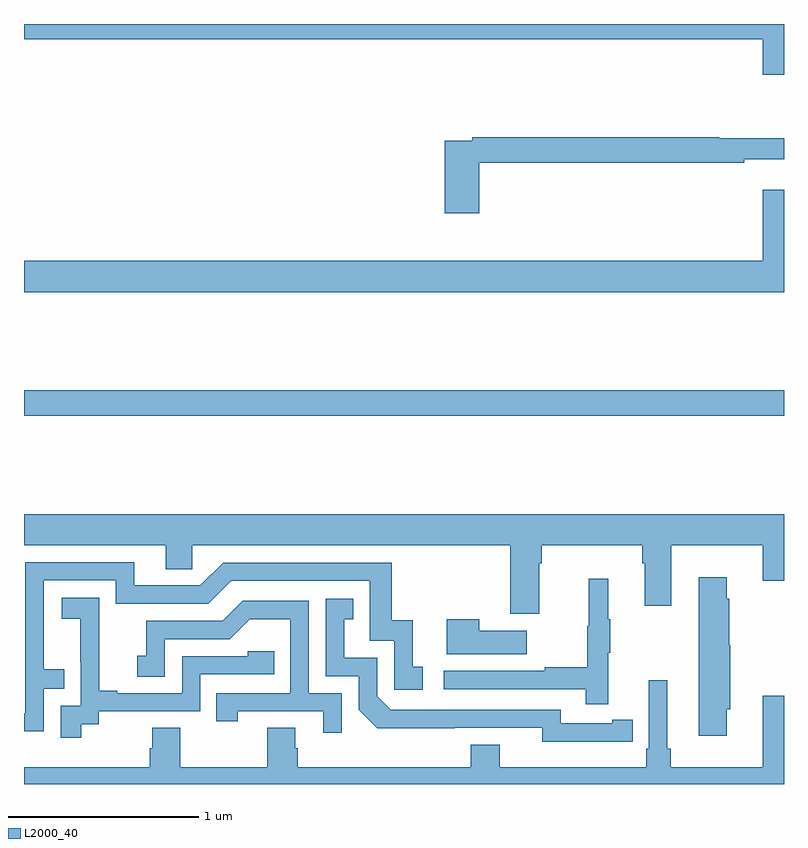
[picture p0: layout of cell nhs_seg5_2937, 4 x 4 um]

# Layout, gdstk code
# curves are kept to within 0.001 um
import gdstk
lib = gdstk.Library(unit=1e-6, precision=1e-09)
def R(c, l, rs):  # rectangles x0, y0, x1, y1
    for r in rs: c.add(gdstk.rectangle(r[:2], r[2:], *l))
def P(c, l, *ps):  # polygons
    for p in ps: c.add(gdstk.Polygon(p, *l))
L2000_40 = (2000, 40)

nhs_seg5_2937 = lib.new_cell('nhs_seg5_2937')
R(nhs_seg5_2937, L2000_40, [(281,894.736,285,894.872)])
P(nhs_seg5_2937, L2000_40, [(285,896.799),(281,896.799),(281,896.72),(284.888,896.72),(284.888,896.532),(285,896.532)],
  [(283.397,896.068),(284.792,896.068),(284.792,896.087),(285,896.087),(285,896.197),(284.66,896.197),(284.66,896.204),(283.36,896.204),(283.36,896.184),(283.214,896.184),(283.214,895.803),(283.397,895.803)],
  [(285,895.927),(284.888,895.927),(284.888,895.552),(281,895.552),(281,895.388),(285,895.388)],
  [(283.711,893.96),(283.724,893.96),(283.724,894.056),(284.255,894.056),(284.255,893.96),(284.267,893.96),(284.267,893.736),(284.407,893.736),(284.407,894.056),(284.888,894.056),(284.888,893.868),(285,893.868),(285,894.22),(281,894.22),(281,894.056),(281.747,894.056),(281.747,893.929),(281.886,893.929),(281.886,894.056),(283.559,894.056),(283.559,893.694),(283.711,893.694)],
  [(281.103,893.301),(281.213,893.301),(281.213,893.402),(281.103,893.402),(281.103,893.871),(281.484,893.871),(281.484,893.748),(281.97,893.748),(282.09,893.868),(282.819,893.868),(282.819,893.553),(282.948,893.553),(282.948,893.295),(283.099,893.295),(283.099,893.415),(283.046,893.415),(283.046,893.662),(282.935,893.662),(282.935,893.964),(282.048,893.964),(281.928,893.844),(281.581,893.844),(281.581,893.967),(281.007,893.967),(281.007,893.172),(281,893.172),(281,893.076),(281.103,893.076)],
  [(284.698,893.193),(284.716,893.193),(284.716,893.529),(284.711,893.529),(284.711,893.774),(284.698,893.774),(284.698,893.887),(284.552,893.887),(284.552,893.052),(284.698,893.052)],
  [(284.075,893.491),(284.086,893.491),(284.086,893.665),(284.075,893.665),(284.075,893.878),(283.972,893.878),(283.972,893.628),(283.965,893.628),(283.965,893.414),(283.741,893.414),(283.741,893.394),(283.209,893.394),(283.209,893.298),(283.957,893.298),(283.957,893.22),(284.075,893.22)],
  [(281.302,893.113),(281.394,893.113),(281.394,893.181),(281.928,893.181),(281.928,893.376),(282.317,893.376),(282.317,893.499),(282.177,893.499),(282.177,893.472),(281.832,893.472),(281.832,893.277),(281.491,893.277),(281.491,893.29),(281.396,893.29),(281.396,893.573),(281.397,893.573),(281.397,893.779),(281.199,893.779),(281.199,893.669),(281.297,893.669),(281.297,893.441),(281.298,893.441),(281.298,893.211),(281.193,893.211),(281.193,893.043),(281.302,893.043)],
  [(284.096,893.022),(284.204,893.022),(284.204,893.138),(284.096,893.138),(284.096,893.118),(283.824,893.118),(283.824,893.19),(282.93,893.19),(282.858,893.262),(282.858,893.463),(282.685,893.463),(282.685,893.667),(282.734,893.667),(282.734,893.773),(282.588,893.773),(282.588,893.367),(282.762,893.367),(282.762,893.19),(282.86,893.093),(283.728,893.094),(283.728,893.021)],
  [(282.672,893.277),(282.498,893.277),(282.498,893.763),(282.152,893.763),(282.047,893.658),(281.644,893.658),(281.644,893.473),(281.595,893.473),(281.595,893.364),(281.742,893.364),(281.742,893.562),(282.084,893.562),(282.188,893.666),(282.402,893.666),(282.402,893.277),(282.013,893.277),(282.013,893.13),(282.124,893.13),(282.124,893.181),(282.575,893.181),(282.575,893.07),(282.672,893.07)],
  [(283.645,893.605),(283.397,893.605),(283.397,893.665),(283.226,893.665),(283.226,893.483),(283.645,893.483)],
  [(285,893.263),(284.888,893.263),(284.888,892.888),(284.405,892.888),(284.405,892.984),(284.386,892.984),(284.386,893.344),(284.289,893.344),(284.289,892.984),(284.276,892.984),(284.276,892.888),(283.504,892.888),(283.504,893.005),(283.352,893.005),(283.352,892.888),(282.44,892.888),(282.44,892.986),(282.427,892.986),(282.427,893.096),(282.28,893.096),(282.28,892.888),(281.823,892.888),(281.823,893.096),(281.675,893.096),(281.675,892.986),(281.663,892.986),(281.663,892.888),(281,892.888),(281,892.799),(285,892.799)])

lib.write_gds('nhs_seg5_2937.gds')
